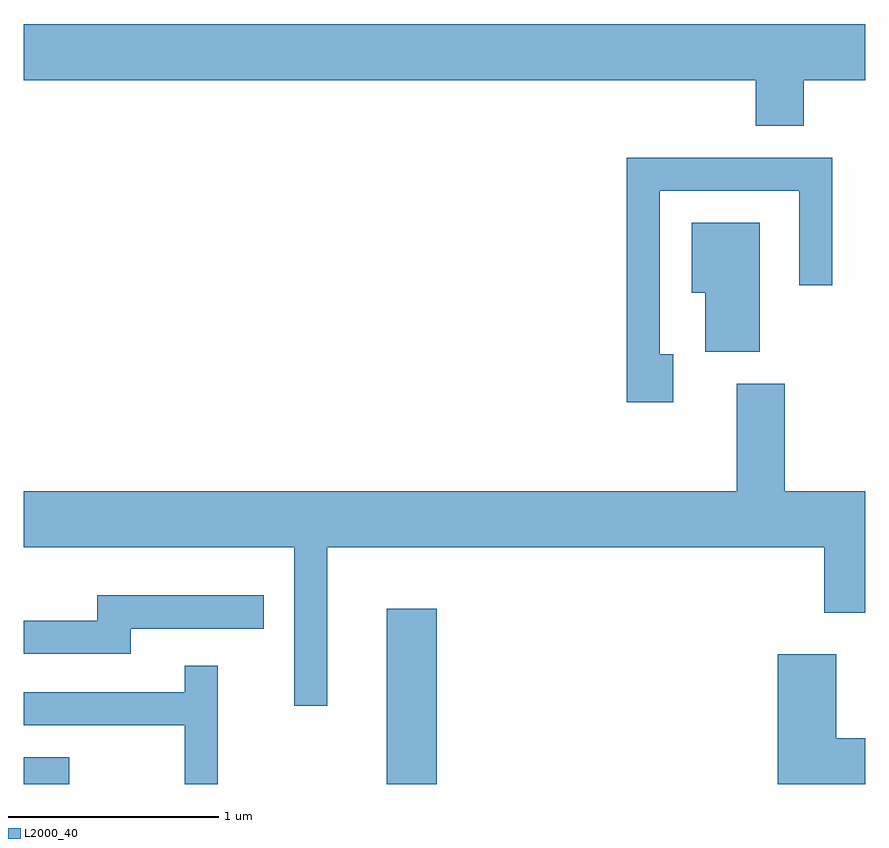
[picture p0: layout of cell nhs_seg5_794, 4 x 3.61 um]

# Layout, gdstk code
import gdstk
lib = gdstk.Library(unit=1e-6, precision=1e-09)
def R(c, l, rs):  # rectangles x0, y0, x1, y1
    for r in rs: c.add(gdstk.rectangle(r[:2], r[2:], *l))
def P(c, l, *ps):  # polygons
    for p in ps: c.add(gdstk.Polygon(p, *l))
L2000_40 = (2000, 40)

nhs_seg5_794 = lib.new_cell('nhs_seg5_794')
R(nhs_seg5_794, L2000_40, [(207.611,1500.072,207.828,1500.199), (209.336,1500.072,209.574,1500.904)])
P(nhs_seg5_794, L2000_40, [(211.319,1503.416),(211.611,1503.416),(211.611,1503.684),(207.611,1503.684),(207.611,1503.416),(211.091,1503.416),(211.091,1503.201),(211.319,1503.201)],
  [(210.699,1502.114),(210.634,1502.114),(210.634,1502.891),(211.296,1502.891),(211.296,1502.443),(211.454,1502.443),(211.454,1503.049),(210.476,1503.049),(210.476,1501.886),(210.699,1501.886)],
  [(211.109,1502.739),(210.786,1502.739),(210.786,1502.406),(210.851,1502.406),(210.851,1502.126),(211.109,1502.126)],
  [(209.054,1501.196),(211.416,1501.196),(211.416,1500.886),(211.611,1500.886),(211.611,1501.464),(211.229,1501.464),(211.229,1501.974),(211.001,1501.974),(211.001,1501.464),(207.611,1501.464),(207.611,1501.196),(208.896,1501.196),(208.896,1500.443),(209.054,1500.443)],
  [(208.119,1500.811),(208.753,1500.811),(208.753,1500.969),(207.961,1500.969),(207.961,1500.849),(207.611,1500.849),(207.611,1500.691),(208.119,1500.691)],
  [(211.611,1500.289),(211.474,1500.289),(211.474,1500.689),(211.196,1500.689),(211.196,1500.072),(211.611,1500.072)],
  [(208.534,1500.633),(208.376,1500.633),(208.376,1500.509),(207.611,1500.509),(207.611,1500.351),(208.376,1500.351),(208.376,1500.072),(208.534,1500.072)])

lib.write_gds('nhs_seg5_794.gds')
